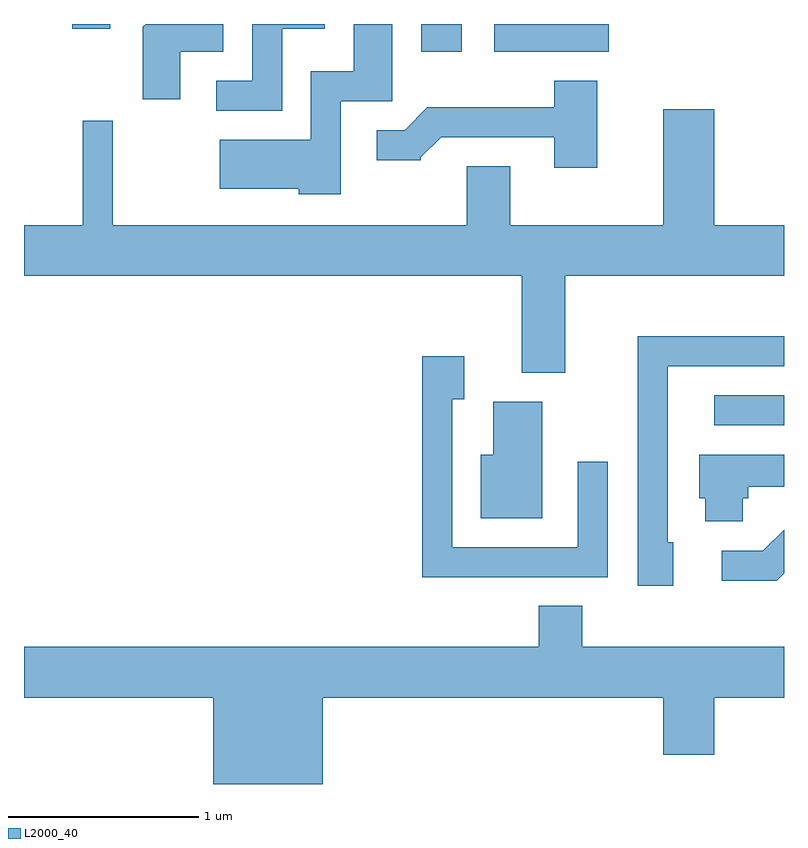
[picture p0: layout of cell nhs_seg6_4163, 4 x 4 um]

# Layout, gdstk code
import gdstk
lib = gdstk.Library(unit=1e-6, precision=1e-09)
def R(c, l, rs):  # rectangles x0, y0, x1, y1
    for r in rs: c.add(gdstk.rectangle(r[:2], r[2:], *l))
def P(c, l, *ps):  # polygons
    for p in ps: c.add(gdstk.Polygon(p, *l))
L2000_40 = (2000, 40)

nhs_seg6_4163 = lib.new_cell('nhs_seg6_4163')
R(nhs_seg6_4163, L2000_40, [(315.243,1638.051,315.611,1638.209), (313.701,1640.016,313.914,1640.162), (314.086,1640.016,314.689,1640.162), (311.866,1640.136,312.064,1640.162)])
P(nhs_seg6_4163, L2000_40, [(313.279,1639.756),(313.549,1639.756),(313.549,1640.162),(313.346,1640.162),(313.346,1639.914),(313.121,1639.914),(313.121,1639.554),(312.641,1639.554),(312.641,1639.296),(313.056,1639.296),(313.056,1639.266),(313.279,1639.266)],
  [(312.969,1640.136),(313.194,1640.136),(313.194,1640.162),(312.811,1640.162),(312.811,1639.864),(312.623,1639.864),(312.623,1639.706),(312.969,1639.706)],
  [(312.434,1640.016),(312.659,1640.016),(312.659,1640.162),(312.251,1640.162),(312.236,1640.147),(312.236,1639.766),(312.434,1639.766)],
  [(314.629,1639.864),(314.401,1639.864),(314.401,1639.724),(313.734,1639.724),(313.614,1639.604),(313.468,1639.604),(313.468,1639.446),(313.7,1639.446),(313.7,1639.46),(313.807,1639.566),(314.401,1639.566),(314.401,1639.406),(314.629,1639.406)],
  [(314.169,1639.414),(313.941,1639.414),(313.941,1639.104),(312.079,1639.104),(312.079,1639.653),(311.921,1639.653),(311.921,1639.104),(311.611,1639.104),(311.611,1638.836),(314.231,1638.836),(314.231,1638.326),(314.459,1638.326),(314.459,1638.836),(315.611,1638.836),(315.611,1639.104),(315.244,1639.104),(315.244,1639.714),(314.976,1639.714),(314.976,1639.104),(314.169,1639.104)],
  [(315.029,1637.434),(314.999,1637.434),(314.999,1638.361),(315.611,1638.361),(315.611,1638.519),(314.841,1638.519),(314.841,1637.206),(315.029,1637.206)],
  [(314.684,1637.858),(314.526,1637.858),(314.526,1637.409),(313.864,1637.409),(313.864,1638.186),(313.929,1638.186),(313.929,1638.414),(313.706,1638.414),(313.706,1637.251),(314.684,1637.251)],
  [(314.339,1638.174),(314.081,1638.174),(314.081,1637.894),(314.016,1637.894),(314.016,1637.561),(314.339,1637.561)],
  [(315.394,1637.666),(315.424,1637.666),(315.424,1637.726),(315.611,1637.726),(315.611,1637.894),(315.166,1637.894),(315.166,1637.666),(315.196,1637.666),(315.196,1637.546),(315.394,1637.546)],
  [(315.611,1637.27),(315.611,1637.501),(315.499,1637.389),(315.283,1637.389),(315.283,1637.231),(315.572,1637.231)],
  [(313.184,1636.616),(314.976,1636.616),(314.976,1636.316),(315.244,1636.316),(315.244,1636.616),(315.611,1636.616),(315.611,1636.884),(314.549,1636.884),(314.549,1637.099),(314.321,1637.099),(314.321,1636.884),(311.611,1636.884),(311.611,1636.616),(312.606,1636.616),(312.606,1636.162),(313.184,1636.162)])

lib.write_gds('nhs_seg6_4163.gds')
